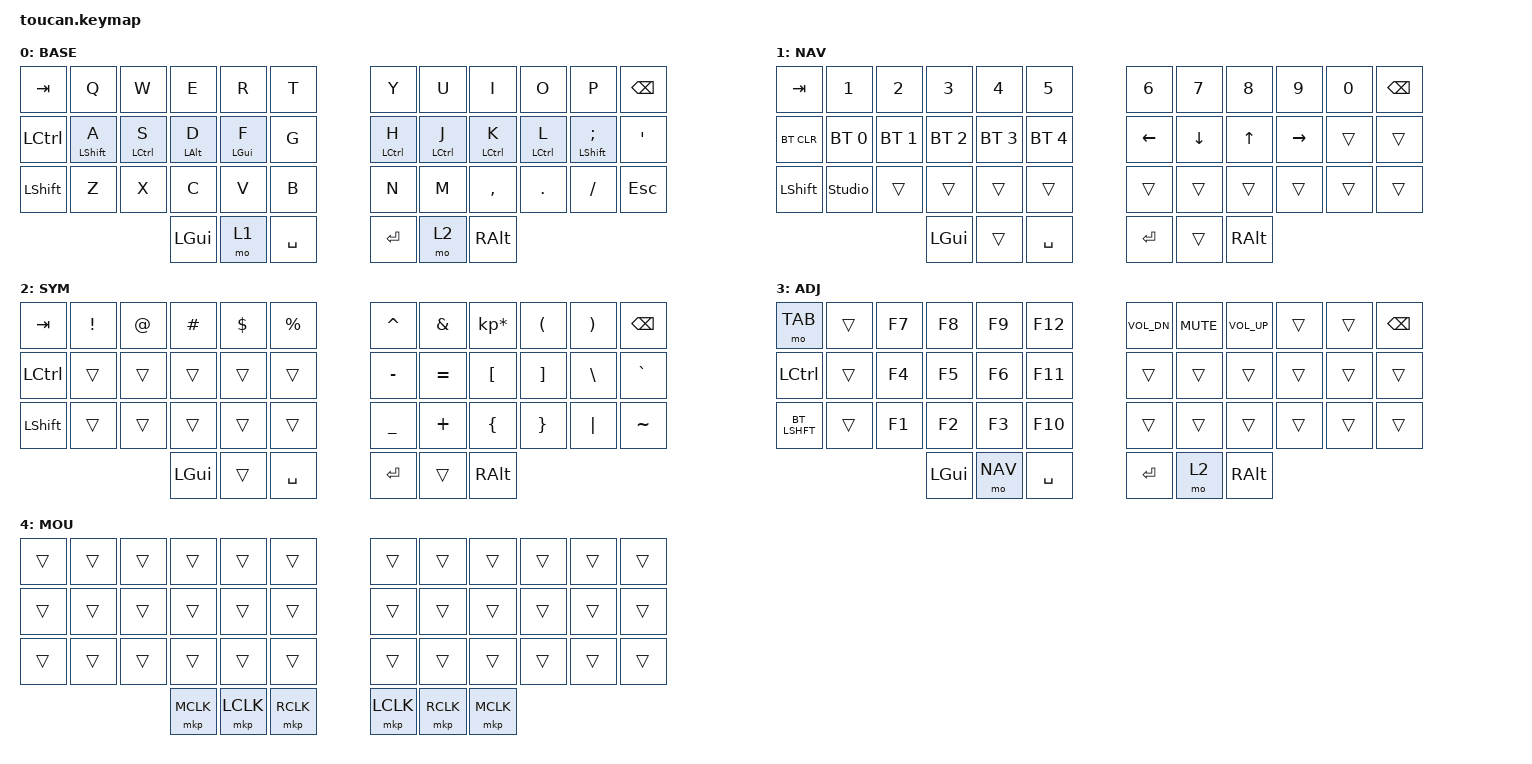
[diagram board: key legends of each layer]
#include <behaviors.dtsi>
#include <dt-bindings/zmk/keys.h>
#include <dt-bindings/zmk/bt.h>
#include <dt-bindings/zmk/outputs.h>
#include <dt-bindings/zmk/pointing.h>

#define BASE 0
#define NAV  1
#define SYM  2
#define ADJ  3

/ {
    behaviors {

      hml: homerow_mods_left {
        compatible = "zmk,behavior-hold-tap";
        label = "HOMEROW_MODS_LEFT";
        #binding-cells = <2>;
        tapping-term-ms = <200>;
        flavor = "tap-preferred";
        bindings = <&kp>, <&kp>;
        hold-trigger-key-positions = <6 7 8 9 10 11 18 19 20 21 22 23 30 31 32 33 34 35 39 40 41>;
      };

      hmr: homerow_mods_right {
        compatible = "zmk,behavior-hold-tap";
        label = "HOMEROW_MODS_RIGHT";
        #binding-cells = <2>;
        tapping-term-ms = <200>;
        flavor = "tap-preferred";
        bindings = <&kp>, <&kp>;
        hold-trigger-key-positions = <0 1 2 3 4 5 12 13 14 15 16 17 24 25 26 27 28 29 36 37 38>;
      };
    };

    conditional_layers {
        compatible = "zmk,conditional-layers";
        tri_layer {
            if-layers = <1 2>;
            then-layer = <3>;
        };
    };

    keymap {
        compatible = "zmk,keymap";

        base {
            display-name = "BASE";
            bindings = <
                &kp TAB   &kp Q &kp W &kp E &kp R &kp T   &kp Y &kp U  &kp I     &kp O   &kp P    &kp BSPC
                &kp LCTRL &hml LSHIFT A &hml LCTRL S &hml LALT D &hml LGUI F &kp G   &hmr LCTRL H &hmr LCTRL J &hmr LCTRL K &hmr LCTRL L &hmr LSHIFT SEMI &kp SQT
                &kp LSHFT &kp Z &kp X &kp C &kp V &kp B   &kp N &kp M  &kp COMMA &kp DOT &kp FSLH &kp ESC
                                                &kp LGUI &mo 1 &kp SPACE   &kp RET &mo 2 &kp RALT
            >;
        };

        nav {
            display-name = "NAV";
            bindings = <
                &kp TAB     &kp N1          &kp N2       &kp N3       &kp N4       &kp N5         &kp N6   &kp N7   &kp N8 &kp N9    &kp N0 &kp BSPC
                &bt BT_CLR  &bt BT_SEL 0    &bt BT_SEL 1 &bt BT_SEL 2 &bt BT_SEL 3 &bt BT_SEL 4   &kp LEFT &kp DOWN &kp UP &kp RIGHT &trans &trans
                &kp LSHFT   &studio_unlock  &trans       &trans       &trans       &trans         &trans   &trans   &trans &trans    &trans &trans
                                                &kp LGUI     &trans       &kp SPACE      &kp RET  &trans   &kp RALT
            >;
        };

        sym {
            display-name = "SYM";
            bindings = <
                &kp TAB   &kp EXCL &kp AT &kp HASH &kp DLLR &kp PRCNT   &kp CARET &kp AMPS  &kp KP_MULTIPLY &kp LPAR &kp RPAR &kp BSPC
                &kp LCTRL &trans   &trans &trans   &trans   &trans      &kp MINUS &kp EQUAL &kp LBKT        &kp RBKT &kp BSLH &kp GRAVE
                &kp LSHFT &trans   &trans &trans   &trans   &trans      &kp UNDER &kp PLUS  &kp LBRC        &kp RBRC &kp PIPE &kp TILDE
                                          &kp LGUI &trans   &kp SPACE   &kp RET   &trans    &kp RALT
            >;
        };

        adj {
            display-name = "ADJ";
            bindings = <
                &mo TAB   &trans &kp F7 &kp F8 &kp F9 &kp F12   &kp C_VOL_DN &kp C_MUTE  &kp C_VOL_UP &trans &trans &kp BSPC
                &kp LCTRL &trans &kp F4 &kp F5 &kp F6 &kp F11   &trans       &trans      &trans       &trans &trans &trans
                &bt LSHFT &trans &kp F1 &kp F2 &kp F3 &kp F10   &trans       &trans      &trans       &trans &trans &trans
                                   &kp LGUI &mo NAV &kp SPACE   &kp RET &mo 2 &kp RALT
            >;
        };

        mouse {
            display-name = "MOU";
            bindings = <
                &trans &trans &trans &trans &trans &trans           &trans &trans &trans &trans &trans &trans
                &trans &trans &trans &trans &trans &trans           &trans &trans &trans &trans &trans &trans
                &trans &trans &trans &trans &trans &trans           &trans &trans &trans &trans &trans &trans
                            &mkp MCLK &mkp LCLK &mkp RCLK           &mkp LCLK &mkp RCLK &mkp MCLK
            >;
        };

        extra_2 {
                status = "reserved";
        };

        extra_3 {
                status = "reserved";
        };
    };
};
